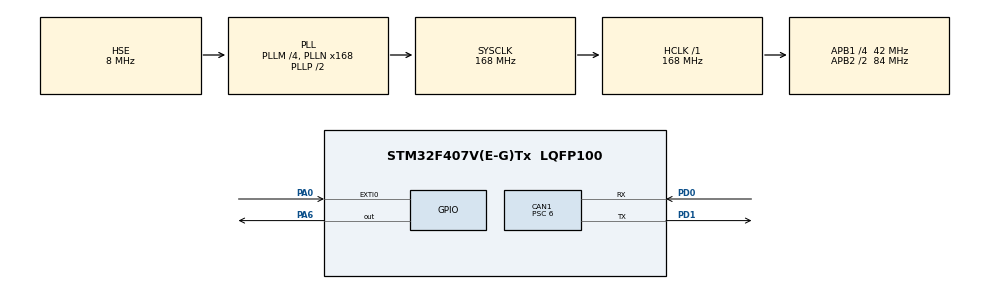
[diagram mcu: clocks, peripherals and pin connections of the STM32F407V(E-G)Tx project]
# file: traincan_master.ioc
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CAN1.BS1=CAN_BS1_11TQ
CAN1.BS2=CAN_BS2_2TQ
CAN1.CalculateBaudRate=500000
CAN1.CalculateTimeBit=2000
CAN1.CalculateTimeQuantum=142.85714285714286
CAN1.Prescaler=6
Mcu.Family=STM32F4
Mcu.Name=STM32F407V(E-G)Tx
Mcu.Package=LQFP100
NVIC.CAN1_RX0_IRQn=true\:0\:0\:false\:false\:true\:true\:true\:true
NVIC.EXTI0_IRQn=true\:0\:0\:false\:false\:true\:true\:true\:true
NVIC.PriorityGroup=NVIC_PRIORITYGROUP_4
NVIC.TIM6_DAC_IRQn=true\:0\:0\:false\:false\:true\:true\:true\:true
PA0-WKUP.GPIO_PuPd=GPIO_PULLDOWN
PA0-WKUP.Signal=GPXTI0
PA6.Signal=GPIO_Output
PD0.Mode=CAN_Activate
PD0.Signal=CAN1_RX
PD1.Mode=CAN_Activate
PD1.Signal=CAN1_TX
PH0-OSC_IN.Mode=HSE-External-Oscillator
PH0-OSC_IN.Signal=RCC_OSC_IN
PH1-OSC_OUT.Mode=HSE-External-Oscillator
PH1-OSC_OUT.Signal=RCC_OSC_OUT
ProjectManager.HeapSize=0x200
ProjectManager.StackSize=0x400
ProjectManager.TargetToolchain=STM32CubeIDE
RCC.48MHZClocksFreq_Value=84000000
RCC.AHBFreq_Value=168000000
RCC.APB1CLKDivider=RCC_HCLK_DIV4
RCC.APB1Freq_Value=42000000
RCC.APB1TimFreq_Value=84000000
RCC.APB2CLKDivider=RCC_HCLK_DIV2
RCC.APB2Freq_Value=84000000
RCC.APB2TimFreq_Value=168000000
RCC.CortexFreq_Value=168000000
RCC.HCLKFreq_Value=168000000
RCC.HSE_VALUE=8000000
RCC.HSI_VALUE=16000000
RCC.LSE_VALUE=32768
RCC.PLLM=4
RCC.PLLN=168
RCC.PLLSourceVirtual=RCC_PLLSOURCE_HSE
RCC.SYSCLKFreq_VALUE=168000000
RCC.SYSCLKSource=RCC_SYSCLKSOURCE_PLLCLK
RCC.VCOOutputFreq_Value=336000000
TIM6.Period=500-1
TIM6.Prescaler=168-1
VP_TIM6_VS_ClockSourceINT.Mode=Enable_Timer
board=custom

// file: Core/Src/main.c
/* USER CODE BEGIN Header */
/**
 ******************************************************************************
 * @file           : main.c
 * @brief          : Main program body
 ******************************************************************************
 * @attention
 *
 * Copyright (c) 2025 STMicroelectronics.
 * All rights reserved.
 *
 * This software is licensed under terms that can be found in the LICENSE file
 * in the root directory of this software component.
 * If no LICENSE file comes with this software, it is provided AS-IS.
 *
 ******************************************************************************
 */
/* USER CODE END Header */
#include "main.h"
#include "can.h"
#include "tim.h"
#include "gpio.h"

/* USER CODE BEGIN Includes */
#include "canbus.h"
#include "stdlib.h"
#include "string.h"
/* USER CODE END Includes */

void SystemClock_Config(void);

/* USER CODE BEGIN 0 */

uint8_t TxData[8];
uint8_t TxRemote[8];
uint8_t RxData [8];
int16_t myvalue = 0;
uint32_t terima_value = 0;

/* USER CODE END 0 */

int main(void)
{

  /* MCU Configuration--------------------------------------------------------*/

  /* Reset of all peripherals, Initializes the Flash interface and the Systick. */
  HAL_Init();

  /* Configure the system clock */
  SystemClock_Config();

  /* Initialize all configured peripherals */
  MX_GPIO_Init();
  MX_CAN1_Init();
  MX_TIM6_Init();
  /* USER CODE BEGIN 2 */

	CANFilterInit();

	if (HAL_CAN_ActivateNotification(&hcan1, CAN_IT_RX_FIFO0_MSG_PENDING | CAN_IT_BUSOFF | CAN_IT_TX_MAILBOX_EMPTY) != HAL_OK)
	{
		Error_Handler();
	}

	if (HAL_CAN_Start(&hcan1) != HAL_OK)
	{
		Error_Handler();
	}
  /* USER CODE END 2 */

  /* Infinite loop */
	while (1)
	{

	}
}

void SystemClock_Config(void)
{
  RCC_OscInitTypeDef RCC_OscInitStruct = {0};
  RCC_ClkInitTypeDef RCC_ClkInitStruct = {0};

  /** Configure the main internal regulator output voltage
  */
  __HAL_RCC_PWR_CLK_ENABLE();
  __HAL_PWR_VOLTAGESCALING_CONFIG(PWR_REGULATOR_VOLTAGE_SCALE1);

  /** Initializes the RCC Oscillators according to the specified parameters
  * in the RCC_OscInitTypeDef structure.
  */
  RCC_OscInitStruct.OscillatorType = RCC_OSCILLATORTYPE_HSE;
  RCC_OscInitStruct.HSEState = RCC_HSE_ON;
  RCC_OscInitStruct.PLL.PLLState = RCC_PLL_ON;
  RCC_OscInitStruct.PLL.PLLSource = RCC_PLLSOURCE_HSE;
  RCC_OscInitStruct.PLL.PLLM = 4;
  RCC_OscInitStruct.PLL.PLLN = 168;
  RCC_OscInitStruct.PLL.PLLP = RCC_PLLP_DIV2;
  RCC_OscInitStruct.PLL.PLLQ = 4;
  if (HAL_RCC_OscConfig(&RCC_OscInitStruct) != HAL_OK)
  {
    Error_Handler();
  }

  /** Initializes the CPU, AHB and APB buses clocks
  */
  RCC_ClkInitStruct.ClockType = RCC_CLOCKTYPE_HCLK|RCC_CLOCKTYPE_SYSCLK
                              |RCC_CLOCKTYPE_PCLK1|RCC_CLOCKTYPE_PCLK2;
  RCC_ClkInitStruct.SYSCLKSource = RCC_SYSCLKSOURCE_PLLCLK;
  RCC_ClkInitStruct.AHBCLKDivider = RCC_SYSCLK_DIV1;
  RCC_ClkInitStruct.APB1CLKDivider = RCC_HCLK_DIV4;
  RCC_ClkInitStruct.APB2CLKDivider = RCC_HCLK_DIV2;

  if (HAL_RCC_ClockConfig(&RCC_ClkInitStruct, FLASH_LATENCY_5) != HAL_OK)
  {
    Error_Handler();
  }
}

/* USER CODE BEGIN 4 */

void HAL_CAN_RxFifo0MsgPendingCallback (CAN_HandleTypeDef *hcan)
{
	if (HAL_CAN_GetRxMessage(hcan, CAN_RX_FIFO0, &RxHeader, RxData) != HAL_OK)
	{
		Error_Handler();
	}

	else if (RxHeader.StdId == 0x651 && RxHeader.RTR == 0)
	{
		memcpy(&terima_value, RxData, sizeof(terima_value));
		////		RxData [5] = 32;
		//
	}
}

void HAL_TIM_PeriodElapsedCallback (TIM_HandleTypeDef *htim)
{
	if (sendmyRemote == 5)
	{
		CAN1_Req();
		sendmyRemote = 0;
	}
	else
	{
		CAN1_Tx(myvalue);
		sendmyRemote++;
	}

}

/* USER CODE END 4 */

void Error_Handler(void)
{
	__disable_irq();
	while (1)
	{
	}
}
